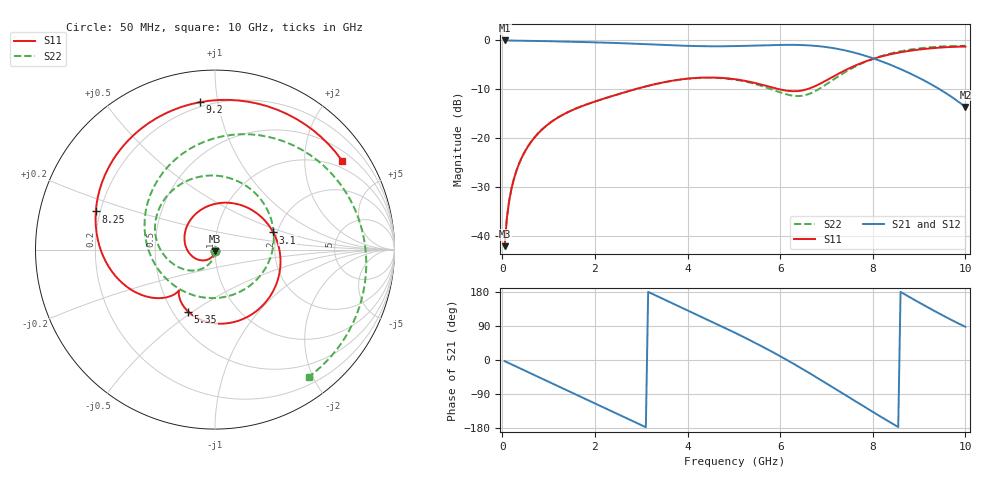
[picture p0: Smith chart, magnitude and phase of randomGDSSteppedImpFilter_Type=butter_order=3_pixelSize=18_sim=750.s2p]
! freq	dB(S11)	phase(S11)	dB(S12)	phase(S12)
!  dB(S21)	phase(S21)	dB(S22)	phase(S22)
!S-par simulation data
#  GHz  S  DB  R 50
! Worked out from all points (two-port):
!   200 points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, 50 MHz to 10 GHz, reference 50 ohm
!   highest |S21| = -0.01 dB at 50 MHz (marker M1); lowest = -13.6 dB at 10 GHz (marker M2)
!   |S21| within 3 dB of the highest: start of sweep to 7.79 GHz
!   lowest |S11| = -42.1 dB at 50 MHz (marker M3), VSWR 1.02, Z = 50 - j0.782 ohm
!   |S11| at or under -10 dB: start of sweep to 2.868 GHz; 5.983 GHz to 6.578 GHz (594.8 MHz wide, 9.47 % of centre)
!   |S22| runs from -42.1 to -1.1 dB; largest |S21 - S12| = 0
!   S11 on the Smith chart (normalised r, x): 50 MHz: 1.00, -0.02; 3.1 GHz: 1.90, +0.41; 5.35 GHz: 0.60, -0.48; 8.25 GHz: 0.18, +0.15; 9.2 GHz: 0.17, +0.89; 10 GHz: 0.76, +2.99
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0.05  -42.13 -92.1  -0.01 -2.9  -0.01 -2.9  -42.09 -89.9
0.1  -36.24 -96.6  -0.01 -5.8  -0.01 -5.8  -36.20 -92.7
0.2  -30.31 -105.1  -0.02 -11.6  -0.02 -11.6  -30.27 -97.3
0.5  -22.56 -129.0  -0.06 -28.8  -0.06 -28.8  -22.52 -109.3
1.15  -16.10 179.3  -0.19 -65.9  -0.19 -65.9  -16.07 -132.6
1.75  -13.35 129.3  -0.33 -100.0  -0.33 -100.0  -13.34 -151.0
2.5  -11.02 64.9  -0.54 -143.0  -0.54 -143.0  -11.02 -172.3
3.1  -9.41 16.4  -0.77 -177.4  -0.77 -177.4  -9.42 167.6
3.4  -8.74 -5.9  -0.89 165.4  -0.89 165.4  -8.76 155.7
4.25  -7.64 -60.5  -1.17 116.9  -1.17 116.9  -7.69 114.4
5.05  -7.97 -101.1  -1.16 70.3  -1.16 70.3  -8.07 63.4
5.35  -8.48 -113.3  -1.08 52.1  -1.08 52.1  -8.65 39.7
6.05  -10.14 -130.4  -0.91 6.6  -0.91 6.6  -10.80 -33.2
6.7  -9.59 -132.0  -1.07 -39.6  -1.07 -39.6  -10.66 -129.6
7.4  -6.13 -150.4  -2.04 -92.1  -2.04 -92.1  -6.52 139.8
7.85  -4.28 -173.4  -3.18 -125.9  -3.18 -125.9  -4.35 95.0
8.25  -3.13 162.3  -4.50 -155.3  -4.50 -155.3  -3.02 60.6
8.35  -2.91 155.8  -4.87 -162.6  -4.87 -162.6  -2.76 52.6
8.8  -2.12 125.0  -6.73 165.6  -6.73 165.6  -1.89 19.5
9.2  -1.66 95.9  -8.66 138.2  -8.66 138.2  -1.43 -6.9
9.6  -1.38 65.7  -10.92 111.9  -10.92 111.9  -1.18 -31.0
10  -1.27 35.1  -13.62 87.6  -13.62 87.6  -1.11 -53.5
